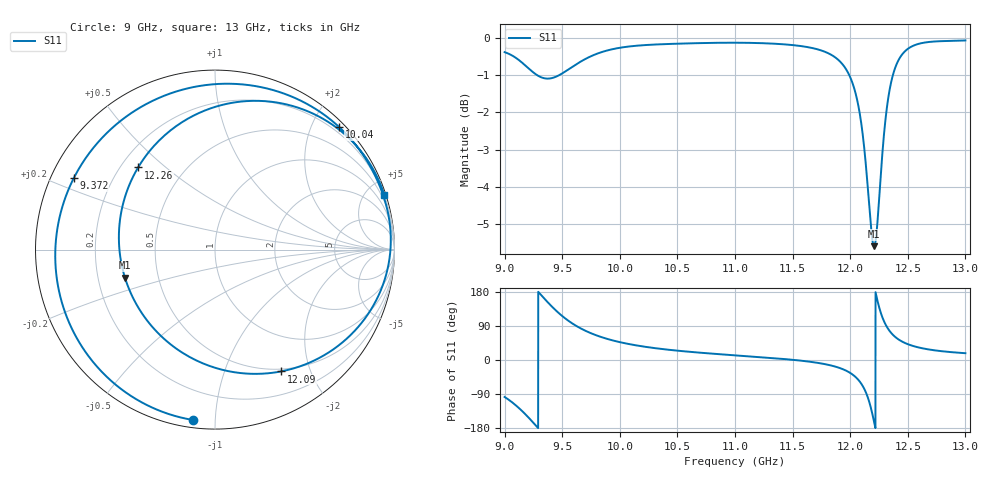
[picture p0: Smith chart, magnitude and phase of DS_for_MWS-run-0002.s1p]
! TOUCHSTONE file generated by CST DESIGN STUDIO
! Date and time: Tue Feb  4 12:51:28 2025
! Project name: C:\Work\MatlabApps\UnitCellOptimizationMatlab\CST\unitcell.cst
! Tree item: Tasks\Sweep1\SPara1\S-Parameters
! Header version: 2024
! Port assignment regex: !\s*Touchstone port\s*([0-9]+)\s*=\s*(CST MWS port|CST DES external port|CST DES block port)\s*(.+)\s* \(\"(.*)\"\)(\s*mode\s*([0-9]+))?.*
! Touchstone port assignment:
! Touchstone port 1 = CST DES external port 1 ("")
# GHz S MA R 50
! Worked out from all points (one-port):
!   4001 points, 9 GHz to 13 GHz, reference 50 ohm
!   lowest |S11| = -5.6 dB at 12.21 GHz (marker M1), VSWR 3.21, Z = 15.9 - j6.86 ohm
!   |S11| at or under -10 dB: nowhere
!   S11 on the Smith chart (normalised r, x): 9 GHz: 0.04, -0.88; 9.372 GHz: 0.07, +0.24; 10.04 GHz: 0.10, +2.44; 12.09 GHz: 0.47, -1.58; 12.26 GHz: 0.27, +0.41; 13 GHz: 0.16, +6.33
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9  0.9571 -97.5
9.114  0.9365 -124.0
9.225  0.9054 -157.5
9.297  0.8886 178.2
9.372  0.8819 153.1
9.5  0.8962 116.1
9.603  0.9178 93.5
9.736  0.9429 72.4
10  0.9701 47.1
10.039  0.9721 44.5
10.5  0.9824 24.6
11  0.9854 12.3
11.5  0.9782 0.5
11.834  0.9495 -14.5
12  0.8858 -34.1
12.051  0.8377 -46.1
12.094  0.772 -61.6
12.155  0.623 -100.6
12.18  0.5583 -126.8
12.207  0.5254 -162.7
12.231  0.5525 163.9
12.257  0.6269 133.1
12.293  0.7415 102.5
12.334  0.8376 80.0
12.407  0.9253 56.9
12.5  0.9668 41.8
12.678  0.9874 28.0
13  0.9923 17.9
